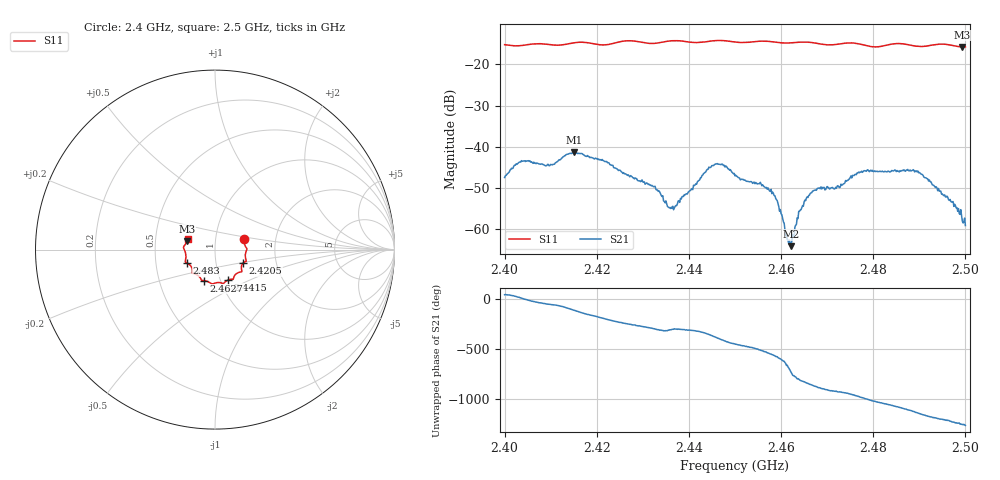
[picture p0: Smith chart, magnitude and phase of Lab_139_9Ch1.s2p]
# Hz S RI R 50
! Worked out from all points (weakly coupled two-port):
!   601 points, 2.4 GHz to 2.5 GHz, reference 50 ohm
!   highest |S21| = -41.37 dB at 2.4152 GHz (marker M1); lowest = -64.1 dB at 2.4622 GHz (marker M2)
!   lowest |S11| = -15.8 dB at 2.4993 GHz (marker M3), VSWR 1.39, Z = 36.4 + j3.62 ohm
!   |S11| at or under -10 dB: start of sweep to end of sweep
!   S12 and S22 are empty: the file has one direction only
!   S11 on the Smith chart (normalised r, x): 2.4 GHz: 1.38, +0.16; 2.4205 GHz: 1.35, -0.21; 2.4415 GHz: 1.09, -0.38; 2.4627 GHz: 0.84, -0.30; 2.483 GHz: 0.73, -0.11; 2.5 GHz: 0.73, +0.09
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2.4e9  0.1636 0.0573  0.00316 0.00282  0 0  0 0
2.403667e9  0.168 0.0208  0.00672 0.000878  0 0  0 0
2.410167e9  0.1725 -0.0121  0.00315 -0.00519  0 0  0 0
2.415167e9  0.1734 -0.0583  -0.0036 -0.00775  0 0  0 0
2.416667e9  0.1745 -0.0636  -0.00612 -0.00558  0 0  0 0
2.4205e9  0.1559 -0.0758  -0.00702 0.000517  0 0  0 0
2.433333e9  0.1073 -0.1471  0.0018 0.00223  0 0  0 0
2.436333e9  0.1024 -0.1643  0.00104 0.00145  0 0  0 0
2.4415e9  0.0736 -0.1686  0.00276 0.00223  0 0  0 0
2.446e9  0.0477 -0.1888  0.00548 -0.00287  0 0  0 0
2.45e9  0.0302 -0.1844  -0.000168 -0.00443  0 0  0 0
2.458167e9  -0.0251 -0.1864  -0.00266 0.00091  0 0  0 0
2.462167e9  -0.057 -0.1734  0.000598 -0.000166  0 0  0 0
2.462667e9  -0.0608 -0.1729  0.00054 -0.000626  0 0  0 0
2.464e9  -0.0692 -0.1726  -1.24e-05 -0.00165  0 0  0 0
2.466667e9  -0.0768 -0.1673  -0.00219 -0.0017  0 0  0 0
2.477e9  -0.1263 -0.1237  -0.000895 0.00475  0 0  0 0
2.483e9  -0.1543 -0.0752  0.00446 0.00213  0 0  0 0
2.483333e9  -0.1566 -0.0741  0.00472 0.00181  0 0  0 0
2.490167e9  -0.1626 -0.028  0.00173 -0.00446  0 0  0 0
2.499333e9  -0.1554 0.0484  -0.00125 -5.74e-05  0 0  0 0
2.5e9  -0.153 0.0572  -0.0011 0.000124  0 0  0 0
